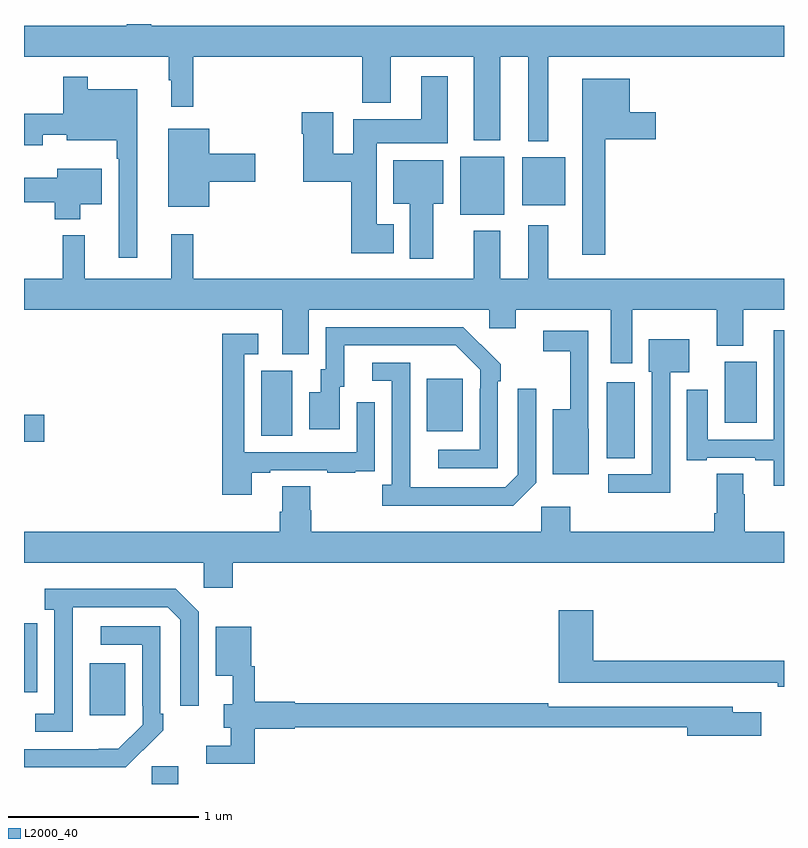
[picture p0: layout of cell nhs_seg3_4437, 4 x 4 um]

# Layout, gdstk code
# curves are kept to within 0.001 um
import gdstk
lib = gdstk.Library(unit=1e-6, precision=1e-09)
def R(c, l, rs):  # rectangles x0, y0, x1, y1
    for r in rs: c.add(gdstk.rectangle(r[:2], r[2:], *l))
def P(c, l, *ps):  # polygons
    for p in ps: c.add(gdstk.Polygon(p, *l))
L2000_40 = (2000, 40)

nhs_seg3_4437 = lib.new_cell('nhs_seg3_4437')
R(nhs_seg3_4437, L2000_40, [(347.673,718.4,347.812,718.494), (347.345,718.761,347.533,719.035), (350.066,720.115,350.215,720.514), (347,720.202,347.107,720.344), (348.248,720.232,348.412,720.576), (349.121,720.257,349.309,720.532), (350.687,720.302,350.857,720.622), (349.295,721.397,349.528,721.702), (349.622,721.445,349.849,721.699)])
P(nhs_seg3_4437, L2000_40, [(349.759,722.228),(351,722.228),(351,722.392),(347.669,722.392),(347.669,722.4),(347.541,722.4),(347.541,722.392),(347,722.392),(347,722.228),(347.763,722.228),(347.763,722.105),(347.774,722.105),(347.774,721.965),(347.891,721.965),(347.891,722.228),(348.779,722.228),(348.779,721.985),(348.931,721.985),(348.931,722.228),(349.367,722.228),(349.367,721.787),(349.507,721.787),(349.507,722.228),(349.655,722.228),(349.655,721.784),(349.759,721.784)],
  [(348.946,721.345),(348.856,721.345),(348.856,721.772),(349.231,721.772),(349.231,722.125),(349.091,722.125),(349.091,721.9),(348.734,721.9),(348.734,721.718),(348.628,721.718),(348.628,721.936),(348.463,721.936),(348.463,721.823),(348.47,721.823),(348.47,721.571),(348.722,721.571),(348.722,721.193),(348.946,721.193)],
  [(347.596,722.056),(347.335,722.056),(347.335,722.122),(347.206,722.122),(347.206,721.927),(347,721.927),(347,721.763),(347.098,721.763),(347.098,721.817),(347.225,721.817),(347.225,721.787),(347.487,721.787),(347.487,721.691),(347.499,721.691),(347.499,721.17),(347.596,721.17)],
  [(350.059,721.793),(350.326,721.793),(350.326,721.935),(350.188,721.935),(350.188,722.113),(349.937,722.113),(349.937,721.185),(350.059,721.185)],
  [(347.974,721.571),(348.217,721.571),(348.217,721.718),(347.974,721.718),(347.974,721.849),(347.759,721.849),(347.759,721.439),(347.974,721.439)],
  [(349.153,721.454),(349.207,721.454),(349.207,721.684),(348.944,721.684),(348.944,721.454),(349.031,721.454),(349.031,721.164),(349.153,721.164)],
  [(347.296,721.451),(347.41,721.451),(347.41,721.639),(347.174,721.639),(347.174,721.591),(347,721.591),(347,721.462),(347.162,721.462),(347.162,721.373),(347.296,721.373)],
  [(350.2,720.896),(350.645,720.896),(350.645,720.707),(350.785,720.707),(350.785,720.896),(351,720.896),(351,721.06),(349.759,721.06),(349.759,721.342),(349.655,721.342),(349.655,721.06),(349.507,721.06),(349.507,721.312),(349.367,721.312),(349.367,721.06),(347.891,721.06),(347.891,721.294),(347.774,721.294),(347.774,721.06),(347.321,721.06),(347.321,721.288),(347.203,721.288),(347.203,721.06),(347,721.06),(347,720.896),(348.359,720.896),(348.359,720.661),(348.499,720.661),(348.499,720.896),(349.449,720.896),(349.449,720.798),(349.588,720.798),(349.588,720.896),(350.087,720.896),(350.087,720.615),(350.2,720.615)],
  [(349.494,720.521),(349.509,720.521),(349.509,720.609),(349.312,720.804),(348.588,720.804),(348.588,720.582),(348.563,720.582),(348.563,720.463),(348.5,720.463),(348.5,720.267),(348.661,720.267),(348.661,720.492),(348.685,720.492),(348.685,720.708),(349.273,720.708),(349.401,720.579),(349.401,720.479),(349.398,720.479),(349.398,720.159),(349.179,720.159),(349.179,720.063),(349.494,720.063)],
  [(351,720.787),(350.946,720.787),(350.946,720.213),(350.599,720.213),(350.599,720.475),(350.489,720.475),(350.489,720.105),(350.593,720.105),(350.593,720.117),(350.849,720.117),(350.849,720.105),(350.945,720.105),(350.945,719.97),(351,719.97)],
  [(349.972,720.269),(349.971,720.269),(349.971,720.786),(349.734,720.786),(349.734,720.678),(349.874,720.678),(349.874,720.373),(349.784,720.373),(349.784,720.029),(349.972,720.029)],
  [(348.199,720.039),(348.295,720.039),(348.295,720.051),(348.595,720.051),(348.595,720.039),(348.743,720.039),(348.743,720.045),(348.845,720.045),(348.845,720.154),(348.846,720.154),(348.846,720.409),(348.75,720.409),(348.75,720.147),(348.159,720.147),(348.159,720.663),(348.232,720.663),(348.232,720.769),(348.043,720.769),(348.043,719.922),(348.199,719.922)],
  [(350.4,720.566),(350.5,720.566),(350.5,720.742),(350.288,720.742),(350.288,720.57),(350.304,720.57),(350.304,720.03),(350.076,720.03),(350.076,719.933),(350.4,719.933)],
  [(349.695,719.985),(349.695,720.481),(349.599,720.481),(349.599,720.027),(349.533,719.961),(349.033,719.961),(349.032,720.618),(348.834,720.618),(348.834,720.522),(348.936,720.522),(348.936,719.974),(348.885,719.974),(348.885,719.864),(349.574,719.864)],
  [(348.098,719.564),(351,719.564),(351,719.728),(350.793,719.728),(350.793,719.924),(350.785,719.924),(350.785,720.032),(350.645,720.032),(350.645,719.824),(350.633,719.824),(350.633,719.728),(349.874,719.728),(349.874,719.86),(349.722,719.86),(349.722,719.728),(348.512,719.728),(348.512,719.841),(348.507,719.841),(348.507,719.966),(348.359,719.966),(348.359,719.834),(348.347,719.834),(348.347,719.728),(347,719.728),(347,719.564),(347.946,719.564),(347.946,719.433),(348.098,719.433)],
  [(347.256,719.131),(347.257,719.331),(347.757,719.331),(347.823,719.265),(347.823,718.812),(347.919,718.812),(347.919,719.307),(347.798,719.428),(347.109,719.428),(347.109,719.318),(347.16,719.318),(347.16,718.77),(347.058,718.77),(347.058,718.674),(347.256,718.674)],
  [(351,719.048),(349.997,719.048),(349.997,719.314),(349.814,719.314),(349.814,718.932),(350.968,718.932),(350.968,718.912),(351,718.912)],
  [(347.07,719.138),(347.069,719.138),(347.069,719.247),(347,719.247),(347,718.884),(347.07,718.884)],
  [(347.627,718.579),(347.628,718.578),(347.733,718.683),(347.733,718.771),(347.718,718.771),(347.718,719.229),(347.403,719.229),(347.403,719.133),(347.622,719.133),(347.622,718.813),(347.625,718.813),(347.625,718.713),(347.497,718.585),(347,718.584),(347,718.488),(347.536,718.488)],
  [(348.215,718.69),(348.426,718.69),(348.426,718.698),(350.492,718.698),(350.492,718.655),(350.881,718.655),(350.881,718.777),(350.731,718.777),(350.731,718.806),(349.76,718.806),(349.76,718.826),(348.426,718.826),(348.426,718.834),(348.215,718.834),(348.215,719.019),(348.196,719.019),(348.196,719.227),(348.008,719.227),(348.008,718.97),(348.098,718.97),(348.098,718.819),(348.05,718.819),(348.05,718.697),(348.087,718.697),(348.087,718.602),(347.958,718.602),(347.958,718.506),(348.215,718.506)])

lib.write_gds('nhs_seg3_4437.gds')
